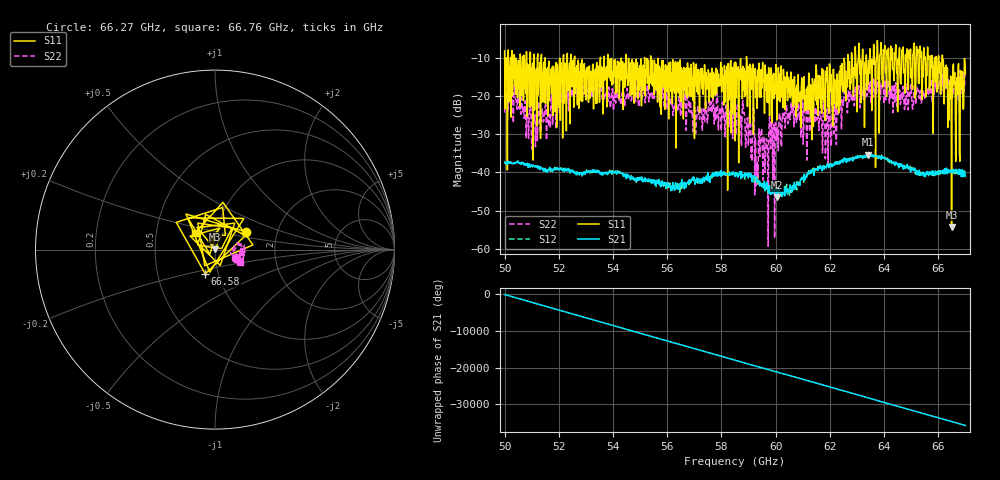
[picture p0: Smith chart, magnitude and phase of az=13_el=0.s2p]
!Created with skrf (http://scikit-rf.org).
# GHz S RI R 50.0
!freq ReS11 ImS11 ReS21 ImS21 ReS12 ImS12 ReS22 ImS22
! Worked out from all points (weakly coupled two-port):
!   1001 points, 50 GHz to 67 GHz, reference 50 ohm
!   highest |S21| = -35.36 dB at 63.41 GHz (marker M1); lowest = -46.6 dB at 60.05 GHz (marker M2)
!   lowest |S11| = -54.3 dB at 66.49 GHz (marker M3), VSWR 1.00, Z = 50.1 + j0.186 ohm
!   |S11| at or under -10 dB: 52.58 GHz to 53.53 GHz (949.3 MHz wide, 1.79 % of centre); 55.39 GHz to 58.92 GHz (3.533 GHz wide, 6.18 % of centre); 58.93 GHz to 62.66 GHz (3.736 GHz wide, 6.14 % of centre) (the widest 3 of 62)
!   |S22| runs from -59.4 to -13.3 dB; largest |S21 - S12| = 0.0024
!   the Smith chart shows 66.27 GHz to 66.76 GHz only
!   S11 on the Smith chart (normalised r, x): 66.27 GHz: 1.38, +0.28; 66.58 GHz: 0.87, -0.24; 66.76 GHz: 0.79, +0.14
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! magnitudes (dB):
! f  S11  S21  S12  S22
! 50 GHz  -8.1  -37.3  -37.3  -24.3
! 50.15 GHz  -21.5  -37.6  -37.6  -21.0
! 51.14 GHz  -13.8  -38.3  -38.3  -33.3
! 52.84 GHz  -12.1  -40.1  -40.1  -19.9
! 55.68 GHz  -13.3  -42.6  -42.8  -21.1
! 57 GHz  -31.1  -41.5  -41.9  -21.3
! 58.5 GHz  -31.7  -41.0  -40.4  -23.7
! 59.13 GHz  -18.3  -42.5  -41.8  -37.1
! 59.32 GHz  -23.2  -42.3  -41.9  -37.4
! 60.05 GHz  -26.2  -46.6  -46.2  -30.0
! 60.64 GHz  -15.7  -43.5  -43.4  -22.4
! 61.34 GHz  -31.4  -39.5  -39.6  -26.6
! 62 GHz  -12.2  -37.7  -38.1  -24.0
! 63.41 GHz  -16.9  -35.4  -35.6  -16.1
! 64.18 GHz  -12.0  -36.7  -36.5  -17.8
! 66.27 GHz  -14.1  -40.3  -39.9  -17.8
! 66.44 GHz  -20.7  -40.0  -39.7  -16.2
! 66.49 GHz  -54.3  -40.0  -39.8  -15.4
! 66.58 GHz  -16.7  -39.8  -40.0  -15.7
! 66.76 GHz  -16.8  -39.2  -40.0  -16.1
! 66.86 GHz  -18.2  -40.8  -39.4  -16.4
! 67 GHz  -14.1  -41.1  -40.3  -14.3
